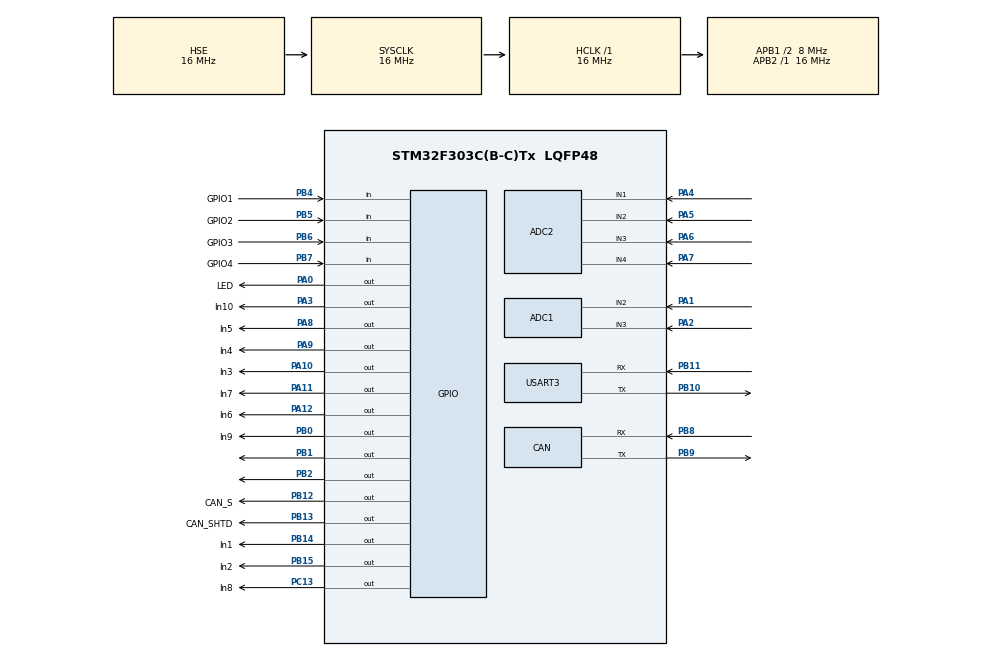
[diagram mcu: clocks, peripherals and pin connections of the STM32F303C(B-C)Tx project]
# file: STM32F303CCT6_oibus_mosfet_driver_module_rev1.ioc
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ADC1.Channel-0\#ChannelRegularConversion=ADC_CHANNEL_TEMPSENSOR
ADC1.NbrOfConversionFlag=1
ADC1.Offset-0\#ChannelRegularConversion=0
ADC1.OffsetNumber-0\#ChannelRegularConversion=ADC_OFFSET_NONE
ADC1.Rank-0\#ChannelRegularConversion=1
ADC1.SamplingTime-0\#ChannelRegularConversion=ADC_SAMPLETIME_1CYCLE_5
ADC1.master=1
ADC2.Channel-0\#ChannelRegularConversion=ADC_CHANNEL_4
ADC2.NbrOfConversionFlag=1
ADC2.Offset-0\#ChannelRegularConversion=0
ADC2.OffsetNumber-0\#ChannelRegularConversion=ADC_OFFSET_NONE
ADC2.Rank-0\#ChannelRegularConversion=1
ADC2.SamplingTime-0\#ChannelRegularConversion=ADC_SAMPLETIME_1CYCLE_5
CAN.BS1=CAN_BS1_1TQ
CAN.BS2=CAN_BS2_1TQ
CAN.CalculateTimeQuantum=2000.0
Mcu.Family=STM32F3
Mcu.Name=STM32F303C(B-C)Tx
Mcu.Package=LQFP48
NVIC.PriorityGroup=NVIC_PRIORITYGROUP_4
PA0.GPIO_Label=LED
PA0.Signal=GPIO_Output
PA1.Mode=IN2-Single-Ended
PA1.Signal=ADC1_IN2
PA10.GPIO_Label=In3
PA10.Signal=GPIO_Output
PA11.GPIO_Label=In7
PA11.Signal=GPIO_Output
PA12.GPIO_Label=In6
PA12.Signal=GPIO_Output
PA13.Mode=Trace_Asynchronous_SW
PA13.Signal=SYS_JTMS-SWDIO
PA14.Mode=Trace_Asynchronous_SW
PA14.Signal=SYS_JTCK-SWCLK
PA2.Mode=IN3-Single-Ended
PA2.Signal=ADC1_IN3
PA3.GPIO_Label=In10
PA3.Signal=GPIO_Output
PA4.Mode=IN1-Single-Ended
PA4.Signal=ADC2_IN1
PA5.Mode=IN2-Single-Ended
PA5.Signal=ADC2_IN2
PA6.Mode=IN3-Single-Ended
PA6.Signal=ADC2_IN3
PA7.Mode=IN4-Single-Ended
PA7.Signal=ADC2_IN4
PA8.GPIO_Label=In5
PA8.Signal=GPIO_Output
PA9.GPIO_Label=In4
PA9.Signal=GPIO_Output
PB0.GPIO_Label=In9
PB0.Signal=GPIO_Output
PB1.Signal=GPIO_Output
PB10.Mode=Asynchronous
PB10.Signal=USART3_TX
PB11.Mode=Asynchronous
PB11.Signal=USART3_RX
PB12.GPIO_Label=CAN_S
PB12.Signal=GPIO_Output
PB13.GPIO_Label=CAN_SHTD
PB13.Signal=GPIO_Output
PB14.GPIO_Label=In1
PB14.Signal=GPIO_Output
PB15.GPIO_Label=In2
PB15.Signal=GPIO_Output
PB2.Signal=GPIO_Output
PB3.Mode=Trace_Asynchronous_SW
PB3.Signal=SYS_JTDO-TRACESWO
PB4.GPIO_Label=GPIO1
PB4.Signal=GPIO_Input
PB5.GPIO_Label=GPIO2
PB5.Signal=GPIO_Input
PB6.GPIO_Label=GPIO3
PB6.Signal=GPIO_Input
PB7.GPIO_Label=GPIO4
PB7.Signal=GPIO_Input
PB8.Mode=Master
PB8.Signal=CAN_RX
PB9.Mode=Master
PB9.Signal=CAN_TX
PC13.GPIO_Label=In8
PC13.Signal=GPIO_Output
PF0-OSC_IN.Mode=HSE-External-Oscillator
PF0-OSC_IN.Signal=RCC_OSC_IN
PF1-OSC_OUT.Mode=HSE-External-Oscillator
PF1-OSC_OUT.Signal=RCC_OSC_OUT
ProjectManager.HeapSize=0x200
ProjectManager.StackSize=0x400
ProjectManager.TargetToolchain=Makefile
RCC.AHBFreq_Value=16000000
RCC.APB1CLKDivider=RCC_HCLK_DIV2
RCC.APB1Freq_Value=8000000
RCC.APB1TimFreq_Value=16000000
RCC.APB2Freq_Value=16000000
RCC.APB2TimFreq_Value=16000000
RCC.CortexFreq_Value=16000000
RCC.HCLKFreq_Value=16000000
RCC.HSE_VALUE=16000000
RCC.HSI_VALUE=8000000
RCC.LSE_VALUE=32768
RCC.PLLMUL=RCC_PLL_MUL9
RCC.PLLSourceVirtual=RCC_PLLSOURCE_HSE
RCC.RCC_PLLsource_Clock_Source_FROM_HSE=RCC_HSE_PREDIV_DIV2
RCC.SYSCLKFreq_VALUE=16000000
RCC.SYSCLKSourceVirtual=RCC_SYSCLKSOURCE_HSE
RCC.USBFreq_Value=72000000
USART3.VirtualMode-Asynchronous=VM_ASYNC
VP_ADC1_TempSens_Input.Mode=IN-TempSens
VP_ADC1_Vbat_Input.Mode=IN-Vbat
board=custom

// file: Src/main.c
/* USER CODE BEGIN Header */
/**
  ******************************************************************************
  * @file           : main.c
  * @brief          : Main program body
  ******************************************************************************
  ** This notice applies to any and all portions of this file
  * that are not between comment pairs USER CODE BEGIN and
  * USER CODE END. Other portions of this file, whether
  * inserted by the user or by software development tools
  * are owned by their respective copyright owners.
  *
  * COPYRIGHT(c) 2019 STMicroelectronics
  *
  * Redistribution and use in source and binary forms, with or without modification,
  * are permitted provided that the following conditions are met:
  *   1. Redistributions of source code must retain the above copyright notice,
  *      this list of conditions and the following disclaimer.
  *   2. Redistributions in binary form must reproduce the above copyright notice,
  *      this list of conditions and the following disclaimer in the documentation
  *      and/or other materials provided with the distribution.
  *   3. Neither the name of STMicroelectronics nor the names of its contributors
  *      may be used to endorse or promote products derived from this software
  *      without specific prior written permission.
  *
  * THIS SOFTWARE IS PROVIDED BY THE COPYRIGHT HOLDERS AND CONTRIBUTORS "AS IS"
  * AND ANY EXPRESS OR IMPLIED WARRANTIES, INCLUDING, BUT NOT LIMITED TO, THE
  * IMPLIED WARRANTIES OF MERCHANTABILITY AND FITNESS FOR A PARTICULAR PURPOSE ARE
  * DISCLAIMED. IN NO EVENT SHALL THE COPYRIGHT HOLDER OR CONTRIBUTORS BE LIABLE
  * FOR ANY DIRECT, INDIRECT, INCIDENTAL, SPECIAL, EXEMPLARY, OR CONSEQUENTIAL
  * DAMAGES (INCLUDING, BUT NOT LIMITED TO, PROCUREMENT OF SUBSTITUTE GOODS OR
  * SERVICES; LOSS OF USE, DATA, OR PROFITS; OR BUSINESS INTERRUPTION) HOWEVER
  * CAUSED AND ON ANY THEORY OF LIABILITY, WHETHER IN CONTRACT, STRICT LIABILITY,
  * OR TORT (INCLUDING NEGLIGENCE OR OTHERWISE) ARISING IN ANY WAY OUT OF THE USE
  * OF THIS SOFTWARE, EVEN IF ADVISED OF THE POSSIBILITY OF SUCH DAMAGE.
  *
  ******************************************************************************
  */
/* USER CODE END Header */

#include "main.h"
#include "adc.h"
#include "can.h"
#include "usart.h"
#include "gpio.h"

#include <canard.h>
#include <canard_stm32.h>

/* USER CODE BEGIN PTD */
typedef struct
{
    uint8_t* name;
    int64_t val;
    int64_t min;
    int64_t max;
    int64_t defval;
} param_t;

/* USER CODE END PTD */

/* USER CODE BEGIN PD */

/*
 * Application constants
 */
#define APP_VERSION_MAJOR                                           1
#define APP_VERSION_MINOR                                           0
#define APP_NODE_NAME                                               "ch.octanis.oibus.mosfet-driver-module"

/*
 * Some useful constants defined by the UAVCAN specification.
 * Data type signature values can be easily obtained with the script show_data_type_info.py
 */
#define UAVCAN_NODE_ID_ALLOCATION_DATA_TYPE_ID                      1
#define UAVCAN_NODE_ID_ALLOCATION_DATA_TYPE_SIGNATURE               0x0b2a812620a11d40
#define UAVCAN_NODE_ID_ALLOCATION_RANDOM_TIMEOUT_RANGE_USEC         400000UL
#define UAVCAN_NODE_ID_ALLOCATION_REQUEST_DELAY_OFFSET_USEC         600000UL

#define UAVCAN_NODE_STATUS_MESSAGE_SIZE                             7
#define UAVCAN_NODE_STATUS_DATA_TYPE_ID                             341
#define UAVCAN_NODE_STATUS_DATA_TYPE_SIGNATURE                      0x0f0868d0c1a7c6f1

#define UAVCAN_NODE_HEALTH_OK                                       0
#define UAVCAN_NODE_HEALTH_WARNING                                  1
#define UAVCAN_NODE_HEALTH_ERROR                                    2
#define UAVCAN_NODE_HEALTH_CRITICAL                                 3

#define UAVCAN_NODE_MODE_OPERATIONAL                                0
#define UAVCAN_NODE_MODE_INITIALIZATION                             1

#define UAVCAN_GET_NODE_INFO_RESPONSE_MAX_SIZE                      ((3015 + 7) / 8)
#define UAVCAN_GET_NODE_INFO_DATA_TYPE_SIGNATURE                    0xee468a8121c46a9e
#define UAVCAN_GET_NODE_INFO_DATA_TYPE_ID                           1

#define UAVCAN_PROTOCOL_PARAM_GETSET_MAX_SIZE 			    ((2967+ 7) / 8)
#define UAVCAN_PROTOCOL_PARAM_GETSET_SIGNATURE			    0xa7b622f939d1a4d5
#define UAVCAN_PROTOCOL_PARAM_GETSET_ID				    11

#define UNIQUE_ID_LENGTH_BYTES 16

#define CANARD_SPIN_PERIOD   1000

#define FIRMWARE_GIT_HASH					    0x875ac4f289834e31f6e09c1886e38172ea73011c
#define UAVCAN_NODE_ID						    10

/* USER CODE BEGIN PM */
#define ARRAY_SIZE(x) ((sizeof(x)/sizeof(0[x])) / ((size_t)(!(sizeof(x) % sizeof(0[x])))))

/*USER CODE END PM */

/* USER CODE BEGIN PV */
static param_t parameters[] =
{
	    {"drivers", 0, 0b0000000000, 0b1111111111, 0b0000000000}
};
/* USER CODE END PV */

void SystemClock_Config(void);

/*
 * Node status variables
 */
static uint8_t node_health = UAVCAN_NODE_HEALTH_OK;
static uint8_t node_mode   = UAVCAN_NODE_MODE_INITIALIZATION;

static uint16_t makeNodeInfoMessage(uint8_t buffer[UAVCAN_GET_NODE_INFO_RESPONSE_MAX_SIZE]);
static void makeNodeStatusMessage(uint8_t buffer[UAVCAN_NODE_STATUS_MESSAGE_SIZE]);

static bool shouldAcceptTransfer(const CanardInstance* ins,
                                 uint64_t* out_data_type_signature,
                                 uint16_t data_type_id,
                                 CanardTransferType transfer_type,
                                 uint8_t source_node_id);
static void readUniqueID(uint8_t* out_uid);

static uint16_t encodeParamCanard(param_t * p, uint8_t * buffer);

static void getNodeInfoHandleCanard(CanardRxTransfer* transfer);
void getsetHandleCanard(CanardRxTransfer* transfer);
static inline param_t* getParamByIndex(uint16_t index);
static inline param_t* getParamByName(uint8_t * name);

/////////////////////////////////////////////////////////////////////

static CanardInstance g_canard;             // The library instance
static uint8_t g_canard_memory_pool[1024];  // Arena for memory allocation, used by the library
static uint32_t g_uptime = 0;

/* USER CODE BEGIN 0 */
bool shouldAcceptTransfer(const CanardInstance* ins,
                          uint64_t* out_data_type_signature,
                          uint16_t data_type_id,
                          CanardTransferType transfer_type,
                          uint8_t source_node_id)
{
    if ((transfer_type == CanardTransferTypeRequest) &&
        (data_type_id == UAVCAN_GET_NODE_INFO_DATA_TYPE_ID))
    {
        *out_data_type_signature = UAVCAN_GET_NODE_INFO_DATA_TYPE_SIGNATURE;
        return true;
    }

    if ((transfer_type == CanardTransferTypeRequest) &&
        (data_type_id ==  UAVCAN_PROTOCOL_PARAM_GETSET_ID))
    {
        *out_data_type_signature =  UAVCAN_PROTOCOL_PARAM_GETSET_SIGNATURE;
        return true;
    }

    return false;
}

static void onTransferReceived(CanardInstance* ins, CanardRxTransfer* transfer)
{
    if ((transfer->transfer_type == CanardTransferTypeRequest) &&
    (transfer->data_type_id == UAVCAN_GET_NODE_INFO_DATA_TYPE_ID))
    {
	    getNodeInfoHandleCanard(transfer);
    }

    if ((transfer->transfer_type == CanardTransferTypeRequest) &&
    (transfer->data_type_id == UAVCAN_PROTOCOL_PARAM_GETSET_ID))
    {
            getsetHandleCanard(transfer);
    }

}

static void swInit(void)
{
    CanardSTM32CANTimings timings;
    int result = canardSTM32ComputeCANTimings(HAL_RCC_GetPCLK1Freq(), 1000000, &timings);
    if (result)
    {
        //__ASM volatile("BKPT #01");
    }
    canardSTM32Init(&timings, CanardSTM32IfaceModeNormal);
    result = canardSTM32Init(&timings, CanardSTM32IfaceModeNormal);
    if (result)
    {

/*	      for(int i=0;i<10;i++){
                             HAL_GPIO_TogglePin(GPIOA, LED_Pin);
                             HAL_Delay(15);
                     }
*/

	    //__ASM volatile("BKPT #01");
    }

    canardInit(&g_canard,                         // Uninitialized library instance
               g_canard_memory_pool,              // Raw memory chunk used for dynamic allocation
               sizeof(g_canard_memory_pool),      // Size of the above, in bytes
               onTransferReceived,                // Callback, see CanardOnTransferReception
               shouldAcceptTransfer,              // Callback, see CanardShouldAcceptTransfer
               NULL);

    canardSetLocalNodeID(&g_canard, UAVCAN_NODE_ID);
}

static void spinCanard(void)
{

	static uint32_t spin_time = 0;
    if (HAL_GetTick() < spin_time + CANARD_SPIN_PERIOD) {
	    return; }  // rate limiting
    spin_time = HAL_GetTick();
         HAL_GPIO_TogglePin(GPIOA, LED_Pin);

    uint8_t buffer[UAVCAN_NODE_STATUS_MESSAGE_SIZE];
    static uint8_t transfer_id = 0;                          // This variable MUST BE STATIC; refer to the libcanard documentation for the background
     HAL_GPIO_TogglePin(GPIOA, LED_Pin);

     makeNodeStatusMessage(buffer);

     canardBroadcast(&g_canard,
                    UAVCAN_NODE_STATUS_DATA_TYPE_SIGNATURE,
                    UAVCAN_NODE_STATUS_DATA_TYPE_ID,
                    &transfer_id,
                    CANARD_TRANSFER_PRIORITY_LOW,
                    buffer,
                    UAVCAN_NODE_STATUS_MESSAGE_SIZE);

  /*   if(cb > 0){
	     for(int i=0;i<10;i++){
	                     HAL_GPIO_TogglePin(GPIOA, LED_Pin);
			     HAL_Delay(300);
	     }
     }

     if(cb <= 0){
             for(int i=0;i<10;i++){
                             HAL_GPIO_TogglePin(GPIOA, LED_Pin);
                             HAL_Delay(150);
             }
     }

*/

}

static void makeNodeStatusMessage(uint8_t buffer[UAVCAN_NODE_STATUS_MESSAGE_SIZE])
{
    const uint8_t node_health = UAVCAN_NODE_HEALTH_OK;
    const uint8_t node_mode   = UAVCAN_NODE_MODE_OPERATIONAL;
    memset(buffer, 0, UAVCAN_NODE_STATUS_MESSAGE_SIZE);
    const uint32_t uptime_sec = HAL_GetTick() / 1000;
    canardEncodeScalar(buffer,  0, 32, &uptime_sec);
    canardEncodeScalar(buffer, 32,  2, &node_health);
    canardEncodeScalar(buffer, 34,  3, &node_mode);
}

static void readUniqueID(uint8_t* out_uid)
{
    for (uint8_t i = 0; i < UNIQUE_ID_LENGTH_BYTES; i++)
    {
        out_uid[i] = i;
    }
}

static void sendCanard(void)
{
    const CanardCANFrame* txf = canardPeekTxQueue(&g_canard);
while(txf)
    {
        const int tx_res = canardSTM32Transmit(txf);

	/*if(tx_res >= 0){
	for(int i=0;i<10;i++){
                             HAL_GPIO_TogglePin(GPIOA, LED_Pin);
                             HAL_Delay(70);
                     }
	}

        if (tx_res < 0)         // Failure - drop the frame and report
        {

	             for(int i=0;i<10;i++){
                             HAL_GPIO_TogglePin(GPIOA, LED_Pin);
                             HAL_Delay(555);
        	     }

		//__ASM volatile("BKPT #01");   // TODO: handle the error properly
        }
	*/

        if(tx_res > 0)
        {
            canardPopTxQueue(&g_canard);
        }
        txf = canardPeekTxQueue(&g_canard);
    }
}

static void receiveCanard(void)
{
    CanardCANFrame rx_frame;
    int res = canardSTM32Receive(&rx_frame);
    if(res)
{
        canardHandleRxFrame(&g_canard, &rx_frame, HAL_GetTick() * 1000);
    }
}

/* USER CODE END 0 */

void SystemClock_Config(void)
{
  RCC_OscInitTypeDef RCC_OscInitStruct = {0};
  RCC_ClkInitTypeDef RCC_ClkInitStruct = {0};
  RCC_PeriphCLKInitTypeDef PeriphClkInit = {0};

  /**Initializes the CPU, AHB and APB busses clocks
  */
  RCC_OscInitStruct.OscillatorType = RCC_OSCILLATORTYPE_HSE;
  RCC_OscInitStruct.HSEState = RCC_HSE_ON;
  RCC_OscInitStruct.HSEPredivValue = RCC_HSE_PREDIV_DIV2;
  RCC_OscInitStruct.HSIState = RCC_HSI_ON;
  RCC_OscInitStruct.PLL.PLLState = RCC_PLL_ON;
  RCC_OscInitStruct.PLL.PLLSource = RCC_PLLSOURCE_HSE;
  RCC_OscInitStruct.PLL.PLLMUL = RCC_PLL_MUL9;
  if (HAL_RCC_OscConfig(&RCC_OscInitStruct) != HAL_OK)
  {
    Error_Handler();
  }
  /**Initializes the CPU, AHB and APB busses clocks
  */
  RCC_ClkInitStruct.ClockType = RCC_CLOCKTYPE_HCLK|RCC_CLOCKTYPE_SYSCLK
                              |RCC_CLOCKTYPE_PCLK1|RCC_CLOCKTYPE_PCLK2;
  RCC_ClkInitStruct.SYSCLKSource = RCC_SYSCLKSOURCE_HSE;
  RCC_ClkInitStruct.AHBCLKDivider = RCC_SYSCLK_DIV1;
  RCC_ClkInitStruct.APB1CLKDivider = RCC_HCLK_DIV2;
  RCC_ClkInitStruct.APB2CLKDivider = RCC_HCLK_DIV1;

  if (HAL_RCC_ClockConfig(&RCC_ClkInitStruct, FLASH_LATENCY_0) != HAL_OK)
  {
    Error_Handler();
  }
  PeriphClkInit.PeriphClockSelection = RCC_PERIPHCLK_USART3|RCC_PERIPHCLK_ADC12;
  PeriphClkInit.Usart3ClockSelection = RCC_USART3CLKSOURCE_PCLK1;
  PeriphClkInit.Adc12ClockSelection = RCC_ADC12PLLCLK_DIV1;
  if (HAL_RCCEx_PeriphCLKConfig(&PeriphClkInit) != HAL_OK)
  {
    Error_Handler();
  }
}

/* USER CODE BEGIN 4 */
void setDriver(GPIO_TypeDef * gpioBank, int pin, int driverBit, int driverState){
      if(driverState & (1<<driverBit)){
         HAL_GPIO_WritePin(gpioBank, pin, GPIO_PIN_SET);
      }else{
        HAL_GPIO_WritePin(gpioBank, pin, GPIO_PIN_RESET);
      }
}

int main(void)
{
  /* Reset of all peripherals, Initializes the Flash interface and the Systick. */
  HAL_Init();

  /* Configure the system clock */
  SystemClock_Config();
  SysTick_Config(SystemCoreClock / 1000); // To make systick event happen every 1 ms

  /* Initialize all configured peripherals */
  MX_GPIO_Init();
  MX_ADC1_Init();
  MX_ADC2_Init();
  MX_CAN_Init();
  MX_USART3_UART_Init();

  //turn on TCAN330
  HAL_GPIO_WritePin(GPIOB, CAN_S_Pin, GPIO_PIN_RESET);
  HAL_GPIO_WritePin(GPIOB, CAN_SHTD_Pin, GPIO_PIN_RESET);

  for (int i=0; i<6;i++){
	  HAL_GPIO_TogglePin(GPIOA, LED_Pin);
	  HAL_Delay(50);
  }

  swInit();
  /* USER CODE END 2 */

  /* Infinite loop */
  /* USER CODE BEGIN WHILE */
  param_t* p = NULL;

  while (1)
  {
  //   HAL_GPIO_TogglePin(GPIOA, LED_Pin);
     // HAL_Delay(100);
      sendCanard();
      receiveCanard();
      spinCanard();

      //set switches
      p = getParamByName("drivers");

      setDriver(GPIOB, In1_Pin, 0, p->val);
      setDriver(GPIOB, In2_Pin, 1, p->val);
      setDriver(GPIOA, In3_Pin, 2, p->val);
      setDriver(GPIOA, In4_Pin, 3, p->val);
      setDriver(GPIOA, In5_Pin, 4, p->val);
      setDriver(GPIOA, In6_Pin, 5, p->val);
      setDriver(GPIOA, In7_Pin, 6, p->val);
      setDriver(GPIOC, In8_Pin, 7, p->val);
      setDriver(GPIOB, In9_Pin, 8, p->val);
      setDriver(GPIOA, In10_Pin, 9, p->val);

  }

}

void getsetHandleCanard(CanardRxTransfer* transfer){

    uint16_t index = 0xFFFF;
    uint8_t tag    = 0;
    int offset     = 0;
    int64_t val    = 0;

    canardDecodeScalar(transfer, offset,  13, false, &index);
    offset += 13;
    canardDecodeScalar(transfer, offset, 3, false, &tag);
    offset += 3;

    if (tag == 1)
    {
        canardDecodeScalar(transfer, offset, 64, false, &val);
        offset += 64;
    }

    uint16_t n = transfer->payload_len - offset / 8 ;
    uint8_t name[16] = "";
    for (int i = 0; i < n; i++)
    {
        canardDecodeScalar(transfer, offset, 8, false, &name[i]);
        offset += 8;
    }

    param_t* p = NULL;

    if (strlen((char const*)name))
    {
        p = getParamByName(name);
    }
    else
    {
        p = getParamByIndex(index);
    }

    if ((p)&&(tag == 1))
    {
        p->val = val;
    }

    uint8_t  buffer[64] = "";
    uint16_t len = encodeParamCanard(p, buffer);
    int result = canardRequestOrRespond(&g_canard,
                                        transfer->source_node_id,
                                        UAVCAN_PROTOCOL_PARAM_GETSET_SIGNATURE,
                                        UAVCAN_PROTOCOL_PARAM_GETSET_ID,
                                        &transfer->transfer_id,
                                        transfer->priority,
                                        CanardResponse,
                                        &buffer[0],
                                        (uint16_t)len);

}

static uint16_t makeNodeInfoMessage(uint8_t buffer[UAVCAN_GET_NODE_INFO_RESPONSE_MAX_SIZE])
{
    memset(buffer, 0, UAVCAN_GET_NODE_INFO_RESPONSE_MAX_SIZE);
    makeNodeStatusMessage(buffer);

    buffer[7] = APP_VERSION_MAJOR;
    buffer[8] = APP_VERSION_MINOR;
    buffer[9] = 1;  // Optional field flags, VCS commit is set
    const uint32_t git_hash = FIRMWARE_GIT_HASH;
    canardEncodeScalar(buffer, 80, 32, &git_hash);

    readUniqueID(&buffer[24]);
    const size_t name_len = strlen(APP_NODE_NAME);
    memcpy(&buffer[41], APP_NODE_NAME, name_len);
    return 41 + name_len ;
}

static void getNodeInfoHandleCanard(CanardRxTransfer* transfer)
{
    uint8_t buffer[UAVCAN_GET_NODE_INFO_RESPONSE_MAX_SIZE];
    memset(buffer, 0, UAVCAN_GET_NODE_INFO_RESPONSE_MAX_SIZE);
    const uint16_t len = makeNodeInfoMessage(buffer);
    int result = canardRequestOrRespond(&g_canard,
                                        transfer->source_node_id,
                                        UAVCAN_GET_NODE_INFO_DATA_TYPE_SIGNATURE,
                                        UAVCAN_GET_NODE_INFO_DATA_TYPE_ID,
                                        &transfer->transfer_id,
                                        transfer->priority,
                                        CanardResponse,
                                        &buffer[0],
                                        (uint16_t)len);
    if (result < 0)
    {
        // TODO: handle the error
    }
}

//helpers
static inline param_t* getParamByIndex(uint16_t index)
{
    if (index >= ARRAY_SIZE(parameters))
    {
        return NULL;
    }
    return &parameters[index];
}

static inline param_t* getParamByName(uint8_t * name)
{
    for (uint16_t i = 0; i < ARRAY_SIZE(parameters); i++)
    {
        if (strncmp(name, parameters[i].name, strlen(parameters[i].name)) == 0)
        {
              return &parameters[i];
        }
    }
    return NULL;
}

static uint16_t encodeParamCanard(param_t * p, uint8_t * buffer)
{
    uint8_t n     = 0;
    int offset    = 0;
    uint8_t tag   = 1;

    if (p == NULL)
    {
        tag = 0;
        canardEncodeScalar(buffer, offset, 5, &n);
        offset += 5;
        canardEncodeScalar(buffer, offset,3, &tag);
        offset += 3;

        canardEncodeScalar(buffer, offset, 6, &n);
        offset += 6;
        canardEncodeScalar(buffer, offset,2, &tag);
        offset += 2;

        canardEncodeScalar(buffer, offset, 6, &n);
        offset += 6;
        canardEncodeScalar(buffer, offset, 2, &tag);
        offset += 2;
        buffer[offset / 8] = 0;
        return ( offset / 8 + 1 );
    }

    canardEncodeScalar(buffer, offset, 5,&n);
    offset += 5;
    canardEncodeScalar(buffer, offset, 3, &tag);
    offset += 3;
    canardEncodeScalar(buffer, offset, 64, &p->val);
    offset += 64;

    canardEncodeScalar(buffer, offset, 5, &n);
    offset += 5;
    canardEncodeScalar(buffer, offset, 3, &tag);
    offset += 3;
    canardEncodeScalar(buffer, offset, 64, &p->defval);
    offset += 64;

    canardEncodeScalar(buffer, offset, 6, &n);
    offset += 6;
    canardEncodeScalar(buffer, offset, 2, &tag);
    offset += 2;
    canardEncodeScalar(buffer, offset, 64, &p->max);
    offset += 64;

    canardEncodeScalar(buffer, offset, 6, &n);
    offset += 6;
    canardEncodeScalar(buffer, offset,2,&tag);
    offset += 2;
    canardEncodeScalar(buffer, offset,64,&p->min);
    offset += 64;

    memcpy(&buffer[offset / 8], p->name, strlen((char const*)p->name));
    /* See important note below */
    return  (offset/8 + strlen((char const*)p->name));

}

void Error_Handler(void)
{
}

/************************ (C) COPYRIGHT STMicroelectronics *****END OF FILE****/
